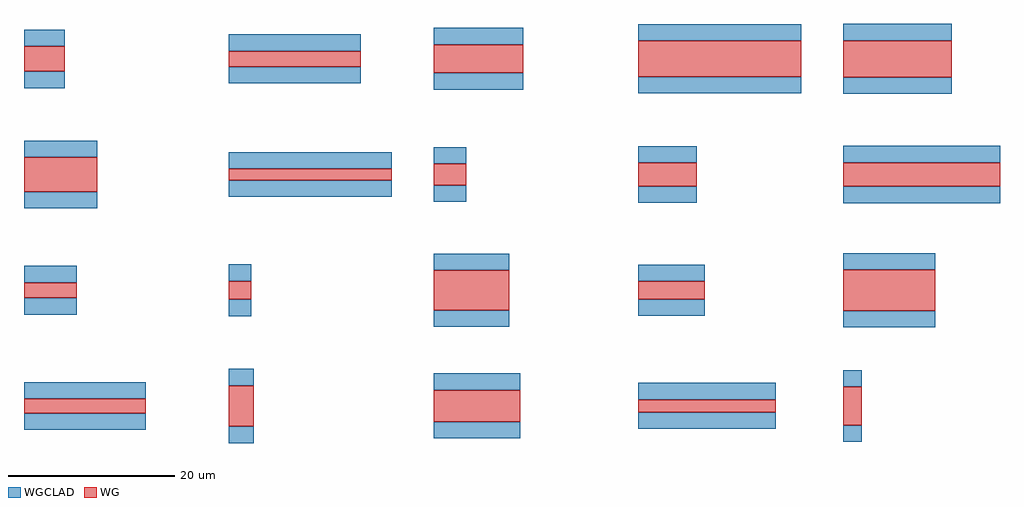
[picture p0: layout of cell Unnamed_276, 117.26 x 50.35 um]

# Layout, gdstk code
import gdstk
lib = gdstk.Library(unit=1e-6, precision=1e-09)
def R(c, l, rs):  # rectangles x0, y0, x1, y1
    for r in rs: c.add(gdstk.rectangle(r[:2], r[2:], *l))
WG = (1, 0)
WGCLAD = (111, 0)

straight_w4376_l13057_lw = lib.new_cell('straight_W4376_L13057_LWG_EWGSTD')
R(straight_w4376_l13057_lw, WG, [(0,-2.188,13.057,2.188)])
R(straight_w4376_l13057_lw, WGCLAD, [(0,-4.188,13.057,-2.188), (0,2.188,13.057,4.188)])

straight_w1710_l14647_lw = lib.new_cell('straight_W1710_L14647_LWG_EWGSTD')
R(straight_w1710_l14647_lw, WG, [(0,-0.855,14.647,0.855)])
R(straight_w1710_l14647_lw, WGCLAD, [(0,-2.855,14.647,-0.855), (0,0.855,14.647,2.855)])

straight_w3808_l10381_lw = lib.new_cell('straight_W3808_L10381_LWG_EWGSTD')
R(straight_w3808_l10381_lw, WG, [(0,-1.904,10.381,1.904)])
R(straight_w3808_l10381_lw, WGCLAD, [(0,-3.904,10.381,-1.904), (0,1.904,10.381,3.904)])

straight_w2872_l18836_lw = lib.new_cell('straight_W2872_L18836_LWG_EWGSTD')
R(straight_w2872_l18836_lw, WG, [(0,-1.436,18.836,1.436)])
R(straight_w2872_l18836_lw, WGCLAD, [(0,-3.436,18.836,-1.436), (0,1.436,18.836,3.436)])

straight_w1524_l16525_lw = lib.new_cell('straight_W1524_L16525_LWG_EWGSTD')
R(straight_w1524_l16525_lw, WG, [(0,-0.762,16.525,0.762)])
R(straight_w1524_l16525_lw, WGCLAD, [(0,-2.762,16.525,-0.762), (0,0.762,16.525,2.762)])

straight_w1862_l15842_lw = lib.new_cell('straight_W1862_L15842_LWG_EWGSTD')
R(straight_w1862_l15842_lw, WG, [(0,-0.931,15.842,0.931)])
R(straight_w1862_l15842_lw, WGCLAD, [(0,-2.931,15.842,-0.931), (0,0.931,15.842,2.931)])

straight_w1846_l6325_lwg = lib.new_cell('straight_W1846_L6325_LWG_EWGSTD')
R(straight_w1846_l6325_lwg, WG, [(0,-0.923,6.325,0.923)])
R(straight_w1846_l6325_lwg, WGCLAD, [(0,-2.923,6.325,-0.923), (0,0.923,6.325,2.923)])

straight_w2824_l7000_lwg = lib.new_cell('straight_W2824_L7000_LWG_EWGSTD')
R(straight_w2824_l7000_lwg, WG, [(0,-1.412,7,1.412)])
R(straight_w2824_l7000_lwg, WGCLAD, [(0,-3.412,7,-1.412), (0,1.412,7,3.412)])

straight_w2194_l2673_lwg = lib.new_cell('straight_W2194_L2673_LWG_EWGSTD')
R(straight_w2194_l2673_lwg, WG, [(0,-1.097,2.673,1.097)])
R(straight_w2194_l2673_lwg, WGCLAD, [(0,-3.097,2.673,-1.097), (0,1.097,2.673,3.097)])

straight_w4304_l19589_lw = lib.new_cell('straight_W4304_L19589_LWG_EWGSTD')
R(straight_w4304_l19589_lw, WG, [(0,-2.152,19.589,2.152)])
R(straight_w4304_l19589_lw, WGCLAD, [(0,-4.152,19.589,-2.152), (0,2.152,19.589,4.152)])

straight_w4754_l9091_lwg = lib.new_cell('straight_W4754_L9091_LWG_EWGSTD')
R(straight_w4754_l9091_lwg, WG, [(0,-2.377,9.091,2.377)])
R(straight_w4754_l9091_lwg, WGCLAD, [(0,-4.377,9.091,-2.377), (0,2.377,9.091,4.377)])

straight_w4636_l2210_lwg = lib.new_cell('straight_W4636_L2210_LWG_EWGSTD')
R(straight_w4636_l2210_lwg, WG, [(0,-2.318,2.21,2.318)])
R(straight_w4636_l2210_lwg, WGCLAD, [(0,-4.318,2.21,-2.318), (0,2.318,2.21,4.318)])

straight_w1332_l19607_lw = lib.new_cell('straight_W1332_L19607_LWG_EWGSTD')
R(straight_w1332_l19607_lw, WG, [(0,-0.666,19.607,0.666)])
R(straight_w1332_l19607_lw, WGCLAD, [(0,-2.666,19.607,-0.666), (0,0.666,19.607,2.666)])

straight_w3028_l4874_lwg = lib.new_cell('straight_W3028_L4874_LWG_EWGSTD')
R(straight_w3028_l4874_lwg, WG, [(0,-1.514,4.874,1.514)])
R(straight_w3028_l4874_lwg, WGCLAD, [(0,-3.514,4.874,-1.514), (0,1.514,4.874,3.514)])

straight_w2118_l7956_lwg = lib.new_cell('straight_W2118_L7956_LWG_EWGSTD')
R(straight_w2118_l7956_lwg, WG, [(0,-1.059,7.956,1.059)])
R(straight_w2118_l7956_lwg, WGCLAD, [(0,-3.059,7.956,-1.059), (0,1.059,7.956,3.059)])

straight_w4904_l2994_lwg = lib.new_cell('straight_W4904_L2994_LWG_EWGSTD')
R(straight_w4904_l2994_lwg, WG, [(0,-2.452,2.994,2.452)])
R(straight_w4904_l2994_lwg, WGCLAD, [(0,-4.452,2.994,-2.452), (0,2.452,2.994,4.452)])

straight_w2546_l3916_lwg = lib.new_cell('straight_W2546_L3916_LWG_EWGSTD')
R(straight_w2546_l3916_lwg, WG, [(0,-1.273,3.916,1.273)])
R(straight_w2546_l3916_lwg, WGCLAD, [(0,-3.273,3.916,-1.273), (0,1.273,3.916,3.273)])

straight_w4878_l11036_lw = lib.new_cell('straight_W4878_L11036_LWG_EWGSTD')
R(straight_w4878_l11036_lw, WG, [(0,-2.439,11.036,2.439)])
R(straight_w4878_l11036_lw, WGCLAD, [(0,-4.439,11.036,-2.439), (0,2.439,11.036,4.439)])

straight_w3406_l10770_lw = lib.new_cell('straight_W3406_L10770_LWG_EWGSTD')
R(straight_w3406_l10770_lw, WG, [(0,-1.703,10.77,1.703)])
R(straight_w3406_l10770_lw, WGCLAD, [(0,-3.703,10.77,-1.703), (0,1.703,10.77,3.703)])

straight_w4106_l8827_lwg = lib.new_cell('straight_W4106_L8827_LWG_EWGSTD')
R(straight_w4106_l8827_lwg, WG, [(0,-2.053,8.827,2.053)])
R(straight_w4106_l8827_lwg, WGCLAD, [(0,-4.053,8.827,-2.053), (0,2.053,8.827,4.053)])

unnamed_276 = lib.new_cell('Unnamed_276')
unnamed_276.add(gdstk.Reference(straight_w4376_l13057_lw, (98.428,48.664)))
unnamed_276.add(gdstk.Reference(straight_w1710_l14647_lw, (0,6.952)))
unnamed_276.add(gdstk.Reference(straight_w3808_l10381_lw, (49.214,6.952)))
unnamed_276.add(gdstk.Reference(straight_w2872_l18836_lw, (98.428,34.76)))
unnamed_276.add(gdstk.Reference(straight_w1524_l16525_lw, (73.821,6.952)))
unnamed_276.add(gdstk.Reference(straight_w1862_l15842_lw, (24.607,48.664)))
unnamed_276.add(gdstk.Reference(straight_w1846_l6325_lwg, (0,20.856)))
unnamed_276.add(gdstk.Reference(straight_w2824_l7000_lwg, (73.821,34.76)))
unnamed_276.add(gdstk.Reference(straight_w2194_l2673_lwg, (24.607,20.856)))
unnamed_276.add(gdstk.Reference(straight_w4304_l19589_lw, (73.821,48.664)))
unnamed_276.add(gdstk.Reference(straight_w4754_l9091_lwg, (49.214,20.856)))
unnamed_276.add(gdstk.Reference(straight_w4636_l2210_lwg, (98.428,6.952)))
unnamed_276.add(gdstk.Reference(straight_w1332_l19607_lw, (24.607,34.76)))
unnamed_276.add(gdstk.Reference(straight_w3028_l4874_lwg, (0,48.664)))
unnamed_276.add(gdstk.Reference(straight_w2118_l7956_lwg, (73.821,20.856)))
unnamed_276.add(gdstk.Reference(straight_w4904_l2994_lwg, (24.607,6.952)))
unnamed_276.add(gdstk.Reference(straight_w2546_l3916_lwg, (49.214,34.76)))
unnamed_276.add(gdstk.Reference(straight_w4878_l11036_lw, (98.428,20.856)))
unnamed_276.add(gdstk.Reference(straight_w3406_l10770_lw, (49.214,48.664)))
unnamed_276.add(gdstk.Reference(straight_w4106_l8827_lwg, (0,34.76)))

lib.write_gds('Unnamed_276.gds')
